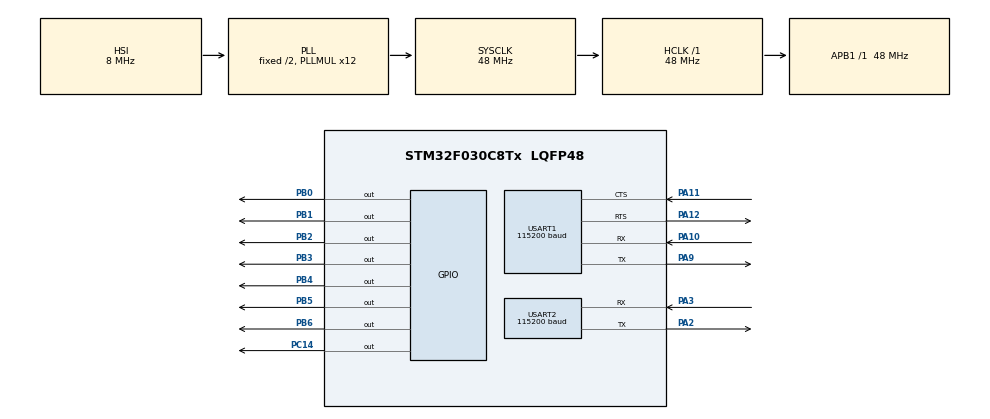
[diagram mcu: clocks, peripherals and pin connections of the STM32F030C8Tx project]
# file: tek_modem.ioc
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Dma.Request0=USART1_RX
Dma.Request1=USART1_TX
Dma.Request2=USART2_RX
Dma.Request3=USART2_TX
Dma.USART1_RX.0.Direction=DMA_PERIPH_TO_MEMORY
Dma.USART1_RX.0.Instance=DMA1_Channel3
Dma.USART1_RX.0.MemDataAlignment=DMA_MDATAALIGN_BYTE
Dma.USART1_RX.0.MemInc=DMA_MINC_ENABLE
Dma.USART1_RX.0.Mode=DMA_NORMAL
Dma.USART1_RX.0.PeriphDataAlignment=DMA_PDATAALIGN_BYTE
Dma.USART1_RX.0.PeriphInc=DMA_PINC_DISABLE
Dma.USART1_RX.0.Priority=DMA_PRIORITY_LOW
Dma.USART1_TX.1.Direction=DMA_MEMORY_TO_PERIPH
Dma.USART1_TX.1.Instance=DMA1_Channel2
Dma.USART1_TX.1.MemDataAlignment=DMA_MDATAALIGN_BYTE
Dma.USART1_TX.1.MemInc=DMA_MINC_ENABLE
Dma.USART1_TX.1.Mode=DMA_NORMAL
Dma.USART1_TX.1.PeriphDataAlignment=DMA_PDATAALIGN_BYTE
Dma.USART1_TX.1.PeriphInc=DMA_PINC_DISABLE
Dma.USART1_TX.1.Priority=DMA_PRIORITY_LOW
Dma.USART2_RX.2.Direction=DMA_PERIPH_TO_MEMORY
Dma.USART2_RX.2.Instance=DMA1_Channel5
Dma.USART2_RX.2.MemDataAlignment=DMA_MDATAALIGN_BYTE
Dma.USART2_RX.2.MemInc=DMA_MINC_ENABLE
Dma.USART2_RX.2.Mode=DMA_NORMAL
Dma.USART2_RX.2.PeriphDataAlignment=DMA_PDATAALIGN_BYTE
Dma.USART2_RX.2.PeriphInc=DMA_PINC_DISABLE
Dma.USART2_RX.2.Priority=DMA_PRIORITY_HIGH
Dma.USART2_TX.3.Direction=DMA_MEMORY_TO_PERIPH
Dma.USART2_TX.3.Instance=DMA1_Channel4
Dma.USART2_TX.3.MemDataAlignment=DMA_MDATAALIGN_BYTE
Dma.USART2_TX.3.MemInc=DMA_MINC_ENABLE
Dma.USART2_TX.3.Mode=DMA_NORMAL
Dma.USART2_TX.3.PeriphDataAlignment=DMA_PDATAALIGN_BYTE
Dma.USART2_TX.3.PeriphInc=DMA_PINC_DISABLE
Dma.USART2_TX.3.Priority=DMA_PRIORITY_LOW
Mcu.Family=STM32F0
Mcu.Name=STM32F030C8Tx
Mcu.Package=LQFP48
NVIC.DMA1_Channel2_3_IRQn=true\:0\:0\:false\:false\:true\:false\:true\:true
NVIC.DMA1_Channel4_5_IRQn=true\:0\:0\:false\:false\:true\:false\:true\:true
NVIC.USART1_IRQn=true\:0\:0\:false\:false\:true\:true\:true\:true
NVIC.USART2_IRQn=true\:0\:0\:false\:false\:true\:true\:true\:true
PA10.Mode=Asynchronous
PA10.Signal=USART1_RX
PA11.Mode=CTS_RTS
PA11.Signal=USART1_CTS
PA12.Mode=CTS_RTS
PA12.Signal=USART1_RTS
PA2.Mode=Asynchronous
PA2.Signal=USART2_TX
PA3.Mode=Asynchronous
PA3.Signal=USART2_RX
PA9.Mode=Asynchronous
PA9.Signal=USART1_TX
PB0.Signal=GPIO_Output
PB1.Signal=GPIO_Output
PB2.Signal=GPIO_Output
PB3.Signal=GPIO_Output
PB4.Signal=GPIO_Output
PB5.Signal=GPIO_Output
PB6.Signal=GPIO_Output
PC14-OSC32_IN.Signal=GPIO_Output
PF0-OSC_IN.Mode=HSE-External-Oscillator
PF0-OSC_IN.Signal=RCC_OSC_IN
PF1-OSC_OUT.Mode=HSE-External-Oscillator
PF1-OSC_OUT.Signal=RCC_OSC_OUT
ProjectManager.HeapSize=0x200
ProjectManager.StackSize=0x400
ProjectManager.TargetToolchain=STM32CubeIDE
RCC.AHBFreq_Value=48000000
RCC.APB1Freq_Value=48000000
RCC.APB1TimFreq_Value=48000000
RCC.HCLKFreq_Value=48000000
RCC.PLLMUL=RCC_PLL_MUL12
RCC.PWR_Regulator_Voltage_Scale=PWR_REGULATOR_VOLTAGE_SCALE1
RCC.SYSCLKFreq_VALUE=48000000
RCC.SYSCLKSource=RCC_SYSCLKSOURCE_PLLCLK
USART1.BaudRate=115200
USART1.VirtualMode-Asynchronous=VM_ASYNC
USART2.BaudRate=115200
USART2.VirtualMode-Asynchronous=VM_ASYNC
VP_RTC_VS_RTC_Activate.Mode=RTC_Enabled
board=custom

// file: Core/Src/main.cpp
/* USER CODE BEGIN Header */
/**
 ******************************************************************************
 * @file           : main.c
 * @brief          : Main program body
 ******************************************************************************
 * @attention
 *
 * Copyright (c) 2023 STMicroelectronics.
 * All rights reserved.
 *
 * This software is licensed under terms that can be found in the LICENSE file
 * in the root directory of this software component.
 * If no LICENSE file comes with this software, it is provided AS-IS.
 *
 ******************************************************************************
 */
/* USER CODE END Header */
#include "main.h"

/* USER CODE BEGIN Includes */
#include "mqtt.h"
#include <stdarg.h>
#include "UnixTime.h"

/* USER CODE END Includes */

/* USER CODE BEGIN PTD */

uint8_t rx_data[1600]; //="+init,tcp://test.mosquitto.org:1883,user";
int init_flag;
int i=0;
//message_mqtt_recive mqtt_message;
/* USER CODE END PTD */

/* USER CODE BEGIN PD */
void UARTPrint(const char *args, ...) //отладка идет в монетоприемник
{
	char StrBuff[1024];
	va_list ap;
	va_start(ap, args);
	char len = vsnprintf(StrBuff, sizeof(StrBuff), args, ap);
	va_end(ap);
	int timeout = sizeof(StrBuff) / 3;
	HAL_UART_Transmit(&huart2,(uint8_t*)StrBuff,len,timeout);
}
/* USER CODE END PD */

RTC_HandleTypeDef hrtc;

UART_HandleTypeDef huart1;
UART_HandleTypeDef huart2;
DMA_HandleTypeDef hdma_usart1_rx;
DMA_HandleTypeDef hdma_usart1_tx;
DMA_HandleTypeDef hdma_usart2_rx;
DMA_HandleTypeDef hdma_usart2_tx;

/* USER CODE BEGIN PV */
bool modem_flag=false;
/* USER CODE END PV */

void SystemClock_Config(void);
static void MX_GPIO_Init(void);
static void MX_DMA_Init(void);
static void MX_USART1_UART_Init(void);
static void MX_USART2_UART_Init(void);
static void MX_RTC_Init(void);

/* USER CODE BEGIN 0 */
void HAL_UART_TxHalfCpltCallback(UART_HandleTypeDef *huart)
{
	// передана половина данных
}

void HAL_UART_TxCpltCallback(UART_HandleTypeDef *huart)
{
	// завершена передача всех данных
}
uint32_t unixtime=0;
void SetRTC(uint16_t yearC,uint8_t monthC,uint8_t dayC,uint8_t hourC,uint8_t minuteC,uint8_t secondC)
{
	  RTC_TimeTypeDef sTime = {0};
	  RTC_DateTypeDef sDate = {0};
	  sTime.Hours = hourC;
	  sTime.Minutes = minuteC;
	  sTime.Seconds = secondC;
	  sTime.DayLightSaving = RTC_DAYLIGHTSAVING_NONE;
	  sTime.StoreOperation = RTC_STOREOPERATION_RESET;
	  if (HAL_RTC_SetTime(&hrtc, &sTime, RTC_FORMAT_BIN) != HAL_OK)
	  {
	    Error_Handler();
	  }
	  //sDate.WeekDay = RTC_WEEKDAY_SUNDAY;
	  sDate.Month = monthC;
	  sDate.Date = dayC;
	  sDate.Year = yearC;

	  if (HAL_RTC_SetDate(&hrtc, &sDate, RTC_FORMAT_BIN) != HAL_OK)
	  {
	    Error_Handler();
	  }
}
uint32_t GetTimeNTP()
{
	HAL_UART_Transmit(&huart1,(uint8_t*)"AT+CNTP=\"ntp0.ntp-servers.net\",32\r\n",39,100);
	uint32_t timeUnix = unixtime;
	char buffer_time[255];
	HAL_Delay(1000);
	int NTP_wait = 1;
	int i=0;
	int count = 0;
	while(NTP_wait && count < 3)
	{
		count++;
		HAL_UART_Transmit(&huart1,(uint8_t*)"AT+CCLK?\r\n",12,50);
		HAL_Delay(1000);
		UARTPrint("getTimeNTP\r\n");
		HAL_UART_Receive_DMA(&huart1, (uint8_t*)buffer_time, 100);

		UARTPrint(buffer_time);
		i=0;

		for(;i<sizeof(buffer_time);i++)//ищем время в полученной строке
		{
			if(buffer_time[i]== 'O' && buffer_time[i+1]=='K')
			{
				for(;i<sizeof(buffer_time);i++)
				{
					if(buffer_time[i]== 'L' && buffer_time[i+1]=='K' && buffer_time[i+2]==':')
					{
						NTP_wait = 0;

						char *istr = strstr((char*)buffer_time,"CCLK:"); //1684304269
						if(istr != NULL)
						{
							char timeStr[17];
							memcpy(timeStr,istr+7,17);

							uint16_t yearC =  (timeStr[0]-'0')*10 + (timeStr[1]-'0') + 2000;
							uint8_t monthC = (timeStr[3]-'0')*10 + (timeStr[4]-'0');
							uint8_t dayC = (timeStr[6]-'0')*10 + (timeStr[7]-'0');
							uint8_t hourC = (timeStr[9]-'0')*10 + (timeStr[10]-'0');
							uint8_t minuteC = (timeStr[12]-'0')*10 + (timeStr[13]-'0');
							uint8_t secondC = (timeStr[15]-'0')*10 + (timeStr[16]-'0');

							setDateTime(yearC, monthC, dayC, hourC+4, minuteC, secondC);
							timeUnix = getUnix();
							UARTPrint("timeUnix: %u\n",timeUnix);

							if(timeUnix > UNIXTIME || timeUnix <  UNIXTIME+10000000)
							{
								SetRTC(yearC-2000, monthC, dayC, hourC, minuteC, secondC);
								UARTPrint("set RTC time: %u\n",timeUnix);
								break;
							}
						}
					}
				}
			}
		}
		HAL_UART_Transmit(&huart1,(uint8_t*)"AT+CNTP=\"ntp0.NL.net\",32\r\n",30,100);
		HAL_Delay(1000);

		HAL_UART_Transmit(&huart1,(uint8_t*)"AT+CCLK?\r\n",13,50);
	}

	if(timeUnix <= UNIXTIME || timeUnix >  UNIXTIME+10000000) timeUnix = UNIXTIME;
	return timeUnix;

}
int error_count=0;
uint32_t timer;
void modem_work()
{
	char buffer[500];
	bool ok_flag=false;
	string log_buffer;
	for(int i=0;i<10;i++)
	{

		uint32_t sim_start_Delay = 0;
		//	HAL_UART_Transmit(&huart1, (uint8_t*)"ATE1\r\n",6,100);
		//	HAL_Delay(100);
		//	HAL_UARTEx_ReceiveToIdle_DMA(&huart1, (uint8_t*) buffer, 100);
		HAL_UART_Transmit(&huart1, (uint8_t*)"AT\r\n", 4,100);
		HAL_Delay(300);
		//	timer=HAL_GetTick();
		//log_buffer<<"LOG: STM32F0: "<<"AT\r\n";
		//	log_buffer.append("LOG: STM32F0: ").append("AT\r\n");
		//		HAL_UART_Transmit(&huart2, (uint8_t*)log_buffer.c_str(), log_buffer.size(), log_buffer.size()*3);
		//		HAL_Delay(300);
		//	log_buffer.clear();
		HAL_UART_Receive_DMA(&huart1, (uint8_t*) buffer, 100);
		HAL_Delay(1000);
		//		HAL_UART_Receive(&huart1, (uint8_t*)buffer, 500, 1000);
		//		timer=HAL_GetTick();
		//		log_buffer.append("LOG: MODEM: ").append(buffer);
		//		HAL_UART_Transmit(&huart2, (uint8_t*)log_buffer.c_str(), log_buffer.size(), log_buffer.size()*3);
		//		log_buffer.clear();
		for(int i=0;i<499;i++)
		{
			if(buffer[i]=='O'&&buffer[i+1]=='K')
			{
				ok_flag=true;
				break;
			}
		}
		if(strstr(buffer,"SIM not inserted"))
		{
			//UARTPrint("MODEM ERROR\r\n");
			//glcd_int_puts(modem_error, 0, 0);
			//auth_flag=0;
			init_flag=0;
			sub=false;
			memset(buffer,9,500);
			HAL_GPIO_WritePin(GPIOC, GPIO_PIN_14, GPIO_PIN_SET);
			HAL_Delay(500);
			HAL_GPIO_WritePin(GPIOC, GPIO_PIN_14, GPIO_PIN_RESET);
			modem_flag = 0;
		}
		else if(ok_flag)
		{
			//UARTPrint("MODEM READY\r\n");
			//	glcd_int_puts(modem_ok, 0, 0);
			//		HAL_UART_Transmit(&huart1, (uint8_t*)"AT&F\r\n", 8,100);
			//		HAL_Delay(500);
			//		HAL_UARTEx_ReceiveToIdle_DMA(&huart1, (uint8_t*) buffer, 100);
			memset(buffer,9,500);
			error_count=0;
			HAL_UART_Transmit_DMA(&huart2, (uint8_t*)"OK\n\r", 4);
			modem_flag=true;
			break;
		}
		else
		{
			//UARTPrint("MODEM ERROR\r\n");
			//glcd_int_puts(modem_error, 0, 0);
			//auth_flag=0;

			error_count++;
			HAL_Delay(1000);
			if(error_count>5)
			{
				sub=false;
				memset(buffer,9,500);
				init_flag=0;
				error_count=0;
				modem_flag = 0;
				HAL_GPIO_WritePin(GPIOC, GPIO_PIN_14, GPIO_PIN_SET);
				HAL_Delay(500);
				HAL_GPIO_WritePin(GPIOC, GPIO_PIN_14, GPIO_PIN_RESET);
			}

		}
	}

}

void CSQ_status()
{
	char ch[30];

	memset(buffer3, 9, sizeof(buffer3));
	HAL_UART_Transmit(&huart1,(uint8_t*)"AT+CSQ\r\n" , 10,100);
	HAL_Delay(100);
	HAL_UART_Receive_DMA(&huart1, (uint8_t*)buffer3, 1500);
	HAL_Delay(100);
	for(int i =0;i<1480;i++)
	{
		if(buffer3[i]=='C'&&buffer3[i+1]=='S'&&buffer3[i+2]=='Q'&&buffer3[i+3]==':')
		{
			int j=0;
			for(int ii=i+4;j<6;ii++)
			{
				ch[j]=buffer3[ii];
				j++;
			}
			ch[j]=0;
			char tx_buf[35];
			sprintf(tx_buf,"CSQS:%s\n\r",ch);
			HAL_UART_Transmit(&huart2, (uint8_t*)tx_buf, j+7,150);
			//ch[j]=0;
			break;
		}
	}

}

void Get_IMEI()
{
	char ch[30];

	memset(buffer3, 9, sizeof(buffer3));
	HAL_UART_Transmit(&huart1,(uint8_t*)"ATI\r\n" , 10,100);
	HAL_Delay(100);
	HAL_UART_Receive_DMA(&huart1, (uint8_t*)buffer3, 1500);
	HAL_Delay(100);
	for(int i =0;i<1480;i++)
	{
		if(buffer3[i]=='I'&&buffer3[i+1]=='M'&&buffer3[i+2]=='E'&&buffer3[i+3]=='I'&&buffer3[i+4]==':')
		{
			int j=0;
			for(int ii=i+5;j<16;ii++)
			{
				ch[j]=buffer3[ii];
				j++;
			}
			ch[j]=0;
			//ch[j]=0;
			char tx_buf[35];
			sprintf(tx_buf,"IMEI:%s\n\r",ch);
			HAL_UART_Transmit(&huart2, (uint8_t*)tx_buf,j+7,150);
			break;
		}

	}

}

void Get_Network_Info()
{
	char ch[30];

	memset(buffer3, 9, sizeof(buffer3));
	HAL_UART_Transmit(&huart1,(uint8_t*)"AT+CSPN?\r\n" , 12,100);
	HAL_Delay(100);
	HAL_UART_Receive_DMA(&huart1, (uint8_t*)buffer3, 1500);
	HAL_Delay(100);
	for(int i =0;i<1480;i++)
	{
		if(buffer3[i]=='C'&&buffer3[i+1]=='S'&&buffer3[i+2]=='P'&&buffer3[i+3]=='N'&&buffer3[i+4]==':')
		{
			int j=0;
			for(int ii=i+6;j<11;ii++)
			{
				ch[j]=buffer3[ii];
				j++;
			}
			ch[j]=0;
			char tx_buf[35];
			sprintf(tx_buf,"NETW:%s\n\r",ch);
			HAL_UART_Transmit(&huart2, (uint8_t*)tx_buf,j+7,150);
			break;
		}
	}

}
void modem_status()
{
	char buffer[512];
	char ch[30];
	HAL_UART_Transmit_DMA(&huart1,(uint8_t*)"AT&F\r\n" , 10);
	HAL_Delay(50);
	HAL_UART_Receive_DMA(&huart1, (uint8_t*)buffer, 512);
	for(int i =0;i<30;i++)
	{
		if(buffer[i]=='C'&&buffer[i+1]=='S'&&buffer[i+2]=='Q'&&buffer[i+3]==':')
		{
			int j=0;
			for(int ii=i+4;j<6;ii++)
			{
				ch[j]=buffer[ii];
				j++;
			}
			ch[j]=0;
			//ch[j]=0;
			break;
		}
	}
}
//uint32_t message_count=0;
int sub_len;
int pub_len;
int con_len;
char recive_packet_init[256];
char recive_packet_send[1010];
char recive_packet_sub[256];
uint32_t OK_Delay=0;
void modem_wait()
{
	int test=0;
	char ch[20];
	//	HAL_UARTEx_ReceiveToIdle_DMA(&huart2, rx_data, 200);
	bool corect_rec=false;
	for(i=0;i<1;i++)
	{
		if(init_flag==1)
		{
			HAL_UART_Transmit_DMA(&huart2, (uint8_t*)"INIT\n\r", 6);
		}
		else
		{
			//			if(HAL_GetTick()-OK_Delay>10)
			//			{
			//			OK_Delay=HAL_GetTick();
			for(int jk=0;jk<1;jk++)
			{

				HAL_UART_Transmit(&huart2, (uint8_t*)"OK\n\r", 4,40);

			}
			//			}
		}
		HAL_Delay(15);
		HAL_UART_Receive_DMA(&huart2, rx_data, 1600);
		for(int r=0;r<1590;r++)
		{

			if(rx_data[r]=='s'&&rx_data[r+1]=='u'&&rx_data[r+2]=='b'&&rx_data[r+3]==':')
			{
				for(int ii=5+r;ii<1590;ii++)
				{
					if(rx_data[ii]=='\n')
					{
						sub_len=ii-5-r;
						break;
					}
					else
					{
						recive_packet_sub[ii-5-r]=rx_data[ii];
					}
				}
			}
			if(rx_data[r]=='i'&&rx_data[r+1]=='n'&&rx_data[r+2]=='i'&&rx_data[r+3]==':')
			{
				for(int ii=5+r;ii<1590;ii++)
				{
					if(rx_data[ii]=='\n')
					{
						con_len=ii-r-5;

						break;
					}
					else
					{
						recive_packet_init[ii-r-5]=rx_data[ii];
					}
				}
			}
			if(rx_data[r]=='p'&&rx_data[r+1]=='u'&&rx_data[r+2]=='b'&&rx_data[r+3]==':')
			{
				for(int ii=5+r;ii<1590;ii++)
				{
					if(rx_data[ii]=='\n')
					{
						pub_len=ii-r-4;
						memset(rx_data, 9, 1590);
						break;
					}
					else
					{
						recive_packet_send[ii-r-5]=rx_data[ii];
					}

				}
			}
		}

		break;
	}
	if(pub_len>1010||pub_len<18)
	{
		pub_len=0;
	}
	if(sub_len>100||sub_len<16)
	{
		sub_len=0;
	}
	if(con_len>70||con_len<35)
	{
		con_len=0;
	}

	//	if(HAL_GetTick()%10000==0)
	//	{
	//		mqtt_message=Mqtt_Recive();
	//	}
}
//string serv;
//string user;
//string pass;
void log_uart(char* data)
{
	//	HAL_UART_Transmit(&huart2, (uint8_t*)"LOG:", 4,50);
	//	HAL_UART_Transmit(&huart2, (uint8_t*)data, 50,200);
	//	HAL_UART_Transmit(&huart2, (uint8_t*)"\n\r", 2,50);
}
bool init_ready=false;
bool pub_ready=false;
//string topic;
//string mess;
//void modem_init()
//{
//
//	int j=0;
//	while(true)
//	{
//		if(rx_data[i+j+5]!=','&&j<100&&rx_data[i+j+5]!='\t'&&rx_data[i+j+5]!='\n'&&rx_data[i+j+5]!='\r')
//		{
//			topic.push_back(rx_data[i+j+5]);
//		}
//		else
//		{
//			break;
//		}
//		j++;
//	}
//	while(true)
//	{
//		if(rx_data[i+j+6]!=','&&j<200&&rx_data[i+j+6]!='\t'&&rx_data[i+j+6]!='\n'&&rx_data[i+j+6]!='\r')
//		{
//			mess.push_back(rx_data[i+j+6]);
//		}
//		else
//		{
//			break;
//		}
//		j++;
//	}

//	pub_ready=true;
//	init_ready=true;

//	//return 0;
//}
//void modem_send()
//{
//	string topic;
//	int j=0;
//
//
//	while(true)
//	{
//		if(rx_data[i+j+6]!='\n')
//		{
//			topic.push_back(rx_data[i+j+6]);
//		}
//		else
//		{
//			break;
//		}
//		j++;
//	}
//
//
//
//	//Mqtt_Subscribe((char*)topic.c_str());
//}
//void modem_sub()
//{
//	string topic;
//	int j=0;
//
//
//	while(true)
//	{
//		if(rx_data[i+j+6]!='\n')
//		{
//			topic.push_back(rx_data[i+j+6]);
//		}
//		else
//		{
//			break;
//		}
//		j++;
//	}
//
//
//
//	//Mqtt_Subscribe((char*)topic.c_str());
//}

/* USER CODE END 0 */

bool start=false;
int main(void)
{

  /* MCU Configuration--------------------------------------------------------*/

  /* Reset of all peripherals, Initializes the Flash interface and the Systick. */
  HAL_Init();

  /* Configure the system clock */
  SystemClock_Config();

  /* Initialize all configured peripherals */
  MX_GPIO_Init();
  MX_DMA_Init();
  MX_USART1_UART_Init();
  MX_USART2_UART_Init();
  MX_RTC_Init();

  /* Infinite loop */
  /* USER CODE BEGIN WHILE */
	//char data[512];
	uint32_t last=0;
	uint32_t last_pub=0;
	//int count12=0;
	//	HAL_GPIO_WritePin(GPIOC, GPIO_PIN_14, GPIO_PIN_SET);
	//	HAL_Delay(500);
	//	HAL_GPIO_WritePin(GPIOC, GPIO_PIN_14, GPIO_PIN_RESET);
	//	HAL_GPIO_TogglePin(GPIOB, GPIO_PIN_1);

	HAL_Delay(7000);
	//	while(1)
	//	{
	//		modem_work();
	//	}

	uint32_t ResDelay=0;
	uint32_t subDelay=0;
	while (1)
	{
		//modem_status();
		//		if(HAL_GetTick()-last>=5000)
		if(!modem_flag&&HAL_GetTick()-last>=5000)
		{
			modem_work();
			last=HAL_GetTick();
		}

    /* USER CODE END WHILE */

    /* USER CODE BEGIN 3 */

		HAL_GPIO_TogglePin(GPIOB, GPIO_PIN_1);

		if(modem_flag)
		{
			//	CSQ_status();

			if(init_flag==0)
			{
				char timestr[100];

				if(con_len>0&&pub_len>0)
				{
					//CSQ_status();

					Mqtt_Init();
					//						topic.clear();
					//						mess.clear();
					//
				}

				if(pub)
				{
					if(!start)
					{
	//					unixtime=GetTimeNTP();
	//					sprintf(timestr,"time:%u\n\r",unixtime);
	//					HAL_UART_Transmit(&huart2, (uint8_t*)timestr, 100, 300);
						for(int i=0;i<5;i++)
						{
//							Get_IMEI();
//							Get_Network_Info();
//							CSQ_status();
//							Get_IMEI();
						}
						start=true;
					}
					for(int i=0;i<3;i++)
					{
						Mqtt_Recive();
						if(!pub)
						{
							break;
						}
					}
				}

			}

			HAL_GPIO_TogglePin(GPIOB, GPIO_PIN_2);

		}
		modem_wait();

	}
  /* USER CODE END 3 */
}

void SystemClock_Config(void)
{
  RCC_OscInitTypeDef RCC_OscInitStruct = {0};
  RCC_ClkInitTypeDef RCC_ClkInitStruct = {0};
  RCC_PeriphCLKInitTypeDef PeriphClkInit = {0};

  /** Initializes the RCC Oscillators according to the specified parameters
  * in the RCC_OscInitTypeDef structure.
  */
  RCC_OscInitStruct.OscillatorType = RCC_OSCILLATORTYPE_HSI|RCC_OSCILLATORTYPE_LSI;
  RCC_OscInitStruct.HSIState = RCC_HSI_ON;
  RCC_OscInitStruct.HSICalibrationValue = RCC_HSICALIBRATION_DEFAULT;
  RCC_OscInitStruct.LSIState = RCC_LSI_ON;
  RCC_OscInitStruct.PLL.PLLState = RCC_PLL_ON;
  RCC_OscInitStruct.PLL.PLLSource = RCC_PLLSOURCE_HSI;
  RCC_OscInitStruct.PLL.PLLMUL = RCC_PLL_MUL12;
  RCC_OscInitStruct.PLL.PREDIV = RCC_PREDIV_DIV1;
  if (HAL_RCC_OscConfig(&RCC_OscInitStruct) != HAL_OK)
  {
    Error_Handler();
  }

  /** Initializes the CPU, AHB and APB buses clocks
  */
  RCC_ClkInitStruct.ClockType = RCC_CLOCKTYPE_HCLK|RCC_CLOCKTYPE_SYSCLK
                              |RCC_CLOCKTYPE_PCLK1;
  RCC_ClkInitStruct.SYSCLKSource = RCC_SYSCLKSOURCE_PLLCLK;
  RCC_ClkInitStruct.AHBCLKDivider = RCC_SYSCLK_DIV1;
  RCC_ClkInitStruct.APB1CLKDivider = RCC_HCLK_DIV1;

  if (HAL_RCC_ClockConfig(&RCC_ClkInitStruct, FLASH_LATENCY_1) != HAL_OK)
  {
    Error_Handler();
  }
  PeriphClkInit.PeriphClockSelection = RCC_PERIPHCLK_USART1|RCC_PERIPHCLK_RTC;
  PeriphClkInit.Usart1ClockSelection = RCC_USART1CLKSOURCE_PCLK1;
  PeriphClkInit.RTCClockSelection = RCC_RTCCLKSOURCE_LSI;
  if (HAL_RCCEx_PeriphCLKConfig(&PeriphClkInit) != HAL_OK)
  {
    Error_Handler();
  }
}

static void MX_RTC_Init(void)
{

  /** Initialize RTC Only
  */
  hrtc.Instance = RTC;
  hrtc.Init.HourFormat = RTC_HOURFORMAT_24;
  hrtc.Init.AsynchPrediv = 127;
  hrtc.Init.SynchPrediv = 255;
  hrtc.Init.OutPut = RTC_OUTPUT_DISABLE;
  hrtc.Init.OutPutPolarity = RTC_OUTPUT_POLARITY_HIGH;
  hrtc.Init.OutPutType = RTC_OUTPUT_TYPE_OPENDRAIN;
  if (HAL_RTC_Init(&hrtc) != HAL_OK)
  {
    Error_Handler();
  }

}

static void MX_USART1_UART_Init(void)
{

  huart1.Instance = USART1;
  huart1.Init.BaudRate = 115200;
  huart1.Init.WordLength = UART_WORDLENGTH_8B;
  huart1.Init.StopBits = UART_STOPBITS_1;
  huart1.Init.Parity = UART_PARITY_NONE;
  huart1.Init.Mode = UART_MODE_TX_RX;
  huart1.Init.HwFlowCtl = UART_HWCONTROL_RTS_CTS;
  huart1.Init.OverSampling = UART_OVERSAMPLING_16;
  huart1.Init.OneBitSampling = UART_ONE_BIT_SAMPLE_DISABLE;
  huart1.AdvancedInit.AdvFeatureInit = UART_ADVFEATURE_NO_INIT;
  if (HAL_UART_Init(&huart1) != HAL_OK)
  {
    Error_Handler();
  }

}

static void MX_USART2_UART_Init(void)
{

  huart2.Instance = USART2;
  huart2.Init.BaudRate = 460800;
  huart2.Init.WordLength = UART_WORDLENGTH_8B;
  huart2.Init.StopBits = UART_STOPBITS_1;
  huart2.Init.Parity = UART_PARITY_NONE;
  huart2.Init.Mode = UART_MODE_TX_RX;
  huart2.Init.HwFlowCtl = UART_HWCONTROL_NONE;
  huart2.Init.OverSampling = UART_OVERSAMPLING_16;
  huart2.Init.OneBitSampling = UART_ONE_BIT_SAMPLE_DISABLE;
  huart2.AdvancedInit.AdvFeatureInit = UART_ADVFEATURE_NO_INIT;
  if (HAL_UART_Init(&huart2) != HAL_OK)
  {
    Error_Handler();
  }

}

static void MX_DMA_Init(void)
{

  /* DMA controller clock enable */
  __HAL_RCC_DMA1_CLK_ENABLE();

  /* DMA interrupt init */
  /* DMA1_Channel2_3_IRQn interrupt configuration */
  HAL_NVIC_SetPriority(DMA1_Channel2_3_IRQn, 0, 0);
  HAL_NVIC_EnableIRQ(DMA1_Channel2_3_IRQn);
  /* DMA1_Channel4_5_IRQn interrupt configuration */
  HAL_NVIC_SetPriority(DMA1_Channel4_5_IRQn, 0, 0);
  HAL_NVIC_EnableIRQ(DMA1_Channel4_5_IRQn);

}

static void MX_GPIO_Init(void)
{
  GPIO_InitTypeDef GPIO_InitStruct = {0};

  /* GPIO Ports Clock Enable */
  __HAL_RCC_GPIOC_CLK_ENABLE();
  __HAL_RCC_GPIOF_CLK_ENABLE();
  __HAL_RCC_GPIOA_CLK_ENABLE();
  __HAL_RCC_GPIOB_CLK_ENABLE();

  /*Configure GPIO pin Output Level */
  HAL_GPIO_WritePin(GPIOC, GPIO_PIN_14, GPIO_PIN_RESET);

  /*Configure GPIO pin Output Level */
  HAL_GPIO_WritePin(GPIOB, GPIO_PIN_0|GPIO_PIN_1|GPIO_PIN_2, GPIO_PIN_RESET);

  /*Configure GPIO pin : PC14 */
  GPIO_InitStruct.Pin = GPIO_PIN_14;
  GPIO_InitStruct.Mode = GPIO_MODE_OUTPUT_PP;
  GPIO_InitStruct.Pull = GPIO_NOPULL;
  GPIO_InitStruct.Speed = GPIO_SPEED_FREQ_LOW;
  HAL_GPIO_Init(GPIOC, &GPIO_InitStruct);

  /*Configure GPIO pins : PB0 PB1 PB2 */
  GPIO_InitStruct.Pin = GPIO_PIN_0|GPIO_PIN_1|GPIO_PIN_2|GPIO_PIN_5;
  GPIO_InitStruct.Mode = GPIO_MODE_OUTPUT_PP;
  GPIO_InitStruct.Pull = GPIO_NOPULL;
  GPIO_InitStruct.Speed = GPIO_SPEED_FREQ_LOW;
  HAL_GPIO_Init(GPIOB, &GPIO_InitStruct);

}

void Error_Handler(void)
{
	__disable_irq();
	while (1)
	{
	}
}
